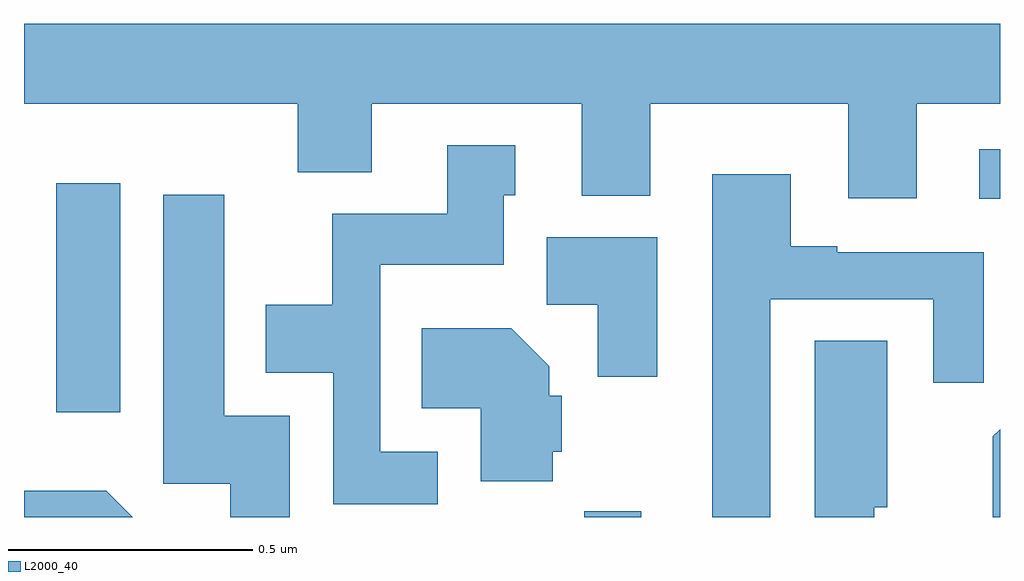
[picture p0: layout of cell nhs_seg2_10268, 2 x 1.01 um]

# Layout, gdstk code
import gdstk
lib = gdstk.Library(unit=1e-6, precision=1e-09)
def R(c, l, rs):  # rectangles x0, y0, x1, y1
    for r in rs: c.add(gdstk.rectangle(r[:2], r[2:], *l))
def P(c, l, *ps):  # polygons
    for p in ps: c.add(gdstk.Polygon(p, *l))
L2000_40 = (2000, 40)

nhs_seg2_10268 = lib.new_cell('nhs_seg2_10268')
R(nhs_seg2_10268, L2000_40, [(240.148,634.8,240.265,634.813), (239.066,635.016,239.197,635.485), (240.957,635.453,241,635.554)])
P(nhs_seg2_10268, L2000_40, [(240.829,635.648),(241,635.648),(241,635.812),(239,635.812),(239,635.648),(239.561,635.648),(239.561,635.507),(239.713,635.507),(239.713,635.648),(240.143,635.648),(240.143,635.459),(240.283,635.459),(240.283,635.648),(240.689,635.648),(240.689,635.454),(240.829,635.454)],
  [(239.848,634.935),(239.73,634.935),(239.73,635.318),(239.983,635.318),(239.983,635.46),(240.007,635.46),(240.007,635.563),(239.867,635.563),(239.867,635.422),(239.632,635.422),(239.632,635.236),(239.495,635.236),(239.495,635.096),(239.634,635.096),(239.634,634.827),(239.848,634.827)],
  [(240.529,635.247),(240.863,635.247),(240.863,635.076),(240.967,635.076),(240.967,635.343),(240.667,635.343),(240.667,635.356),(240.571,635.356),(240.571,635.503),(240.41,635.503),(240.41,634.8),(240.529,634.8)],
  [(239.545,635.008),(239.41,635.008),(239.41,635.461),(239.285,635.461),(239.285,634.869),(239.423,634.869),(239.423,634.8),(239.545,634.8)],
  [(240.298,635.374),(240.071,635.374),(240.071,635.236),(240.176,635.236),(240.176,635.088),(240.298,635.088)],
  [(240.084,634.935),(240.102,634.935),(240.102,635.049),(240.076,635.049),(240.076,635.11),(239.998,635.188),(239.815,635.188),(239.815,635.024),(239.936,635.024),(239.936,634.874),(240.084,634.874)],
  [(240.742,634.821),(240.769,634.821),(240.769,635.162),(240.62,635.162),(240.62,634.8),(240.742,634.8)],
  [(241,634.981),(240.985,634.966),(240.985,634.8),(241,634.8)],
  [(239.169,634.855),(239,634.855),(239,634.8),(239.223,634.8)])

lib.write_gds('nhs_seg2_10268.gds')
